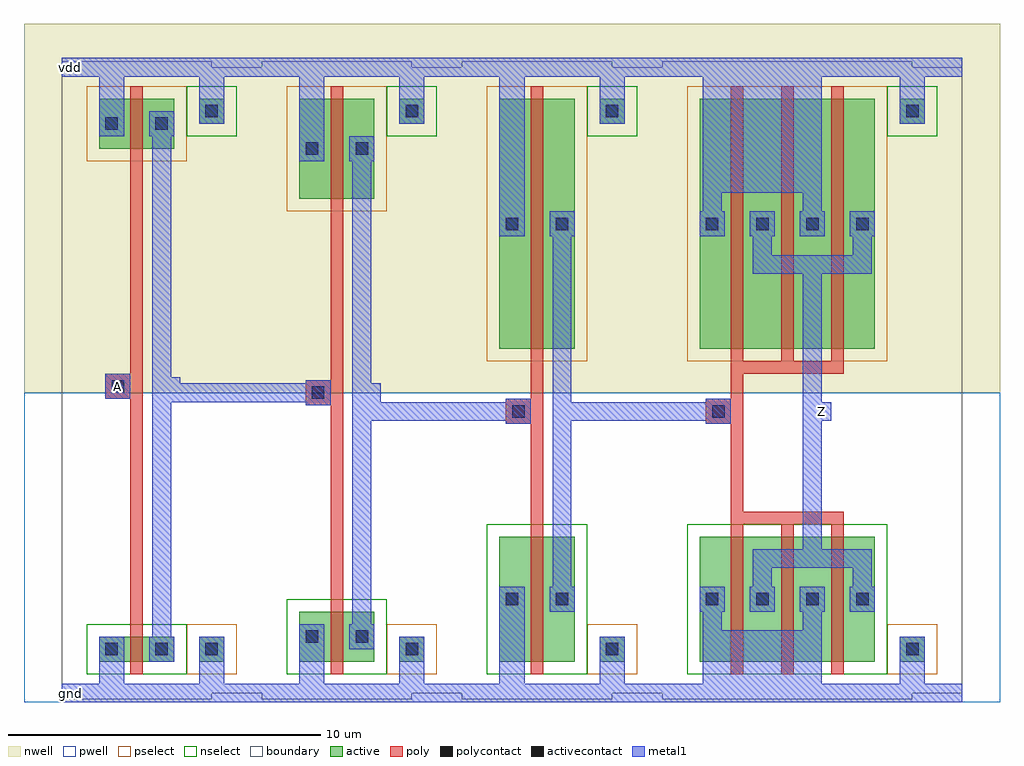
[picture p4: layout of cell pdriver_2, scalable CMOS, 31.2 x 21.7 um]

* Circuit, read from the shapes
.subckt pdriver_2 A Z gnd vdd
M1 pinv_2_1/A A gnd gnd nfet w=0.8u l=0.4u
M2 pinv_5_2/A pinv_2_1/A gnd gnd nfet w=1.6u l=0.4u
M3 pinv_6_3/A pinv_5_2/A gnd gnd nfet w=4u l=0.4u
M4 Z pinv_6_3/A gnd gnd nfet w=4u l=0.4u m=3
M5 pinv_2_1/A A vdd vdd pfet w=1.6u l=0.4u
M6 pinv_5_2/A pinv_2_1/A vdd vdd pfet w=3.2u l=0.4u
M7 pinv_6_3/A pinv_5_2/A vdd vdd pfet w=8u l=0.4u
M8 Z pinv_6_3/A vdd vdd pfet w=8u l=0.4u m=3
.ends

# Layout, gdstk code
import gdstk
lib = gdstk.Library(unit=1e-6, precision=1e-09)
def R(c, l, rs):  # rectangles x0, y0, x1, y1
    for r in rs: c.add(gdstk.rectangle(r[:2], r[2:], *l))
def A(c, l, x, y, w, h, nx, ny, dx, dy):  # array of equal rectangles
    R(c, l, [(x+i*dx, y+j*dy, x+i*dx+w, y+j*dy+h) for i in range(nx) for j in range(ny)])
pwell = (41, 0)
nwell = (42, 0)
active = (43, 0)
pselect = (44, 0)
nselect = (45, 0)
poly = (46, 0)
polycontact = (47, 0)
activecontact = (48, 0)
metal1 = (49, 0)
boundary = (63, 0)

contact_11 = lib.new_cell('contact_11')
R(contact_11, nwell, [(-1.2,-1.2,2,2)])
R(contact_11, active, [(0,0,0.8,0.8)])
R(contact_11, pselect, [(-0.4,-0.4,1.2,1.2)])
R(contact_11, activecontact, [(0.2,0.2,0.6,0.6)])
R(contact_11, metal1, [(0,0,0.8,0.8)])

pmos_m1_w1_600_a_p = lib.new_cell('pmos_m1_w1_600_a_p')
R(pmos_m1_w1_600_a_p, nwell, [(-1.2,-1.2,3.6,2.8)])
R(pmos_m1_w1_600_a_p, active, [(0,0,2.4,1.6)])
R(pmos_m1_w1_600_a_p, pselect, [(-0.4,-0.4,2.8,2)])
R(pmos_m1_w1_600_a_p, poly, [(1,-0.4,1.4,2), (1,-0.4,1.4,2)])
R(pmos_m1_w1_600_a_p, metal1, [(0,0.4,0.8,1.2), (1.6,0.4,2.4,1.2)])
R(pmos_m1_w1_600_a_p, boundary, [(-1.2,-1.2,3.6,2.8)])
pmos_m1_w1_600_a_p.add(gdstk.Reference(contact_11, (0,0.4)))
pmos_m1_w1_600_a_p.add(gdstk.Reference(contact_11, (1.6,0.4)))
pmos_m1_w1_600_a_p.add(gdstk.Label('G', (1.2,0.8), layer=46, texttype=0))
pmos_m1_w1_600_a_p.add(gdstk.Label('S', (0.4,0.8), layer=49, texttype=0))
pmos_m1_w1_600_a_p.add(gdstk.Label('D', (2,0.8), layer=49, texttype=0))

contact_16 = lib.new_cell('contact_16')
R(contact_16, pwell, [(-1.2,-1.2,2,2)])
R(contact_16, active, [(0,0,0.8,0.8)])
R(contact_16, nselect, [(-0.4,-0.4,1.2,1.2)])
R(contact_16, activecontact, [(0.2,0.2,0.6,0.6)])
R(contact_16, metal1, [(0,0,0.8,0.8)])

nmos_m1_w0_800_a_p = lib.new_cell('nmos_m1_w0_800_a_p')
R(nmos_m1_w0_800_a_p, pwell, [(-1.2,-1.2,3.6,2)])
R(nmos_m1_w0_800_a_p, active, [(0,0,2.4,0.8)])
R(nmos_m1_w0_800_a_p, nselect, [(-0.4,-0.4,2.8,1.2)])
R(nmos_m1_w0_800_a_p, poly, [(1,-0.4,1.4,1.2), (1,-0.4,1.4,1.2)])
R(nmos_m1_w0_800_a_p, metal1, [(0,0,0.8,0.8), (1.6,0,2.4,0.8)])
R(nmos_m1_w0_800_a_p, boundary, [(-1.2,-1.2,3.6,2)])
nmos_m1_w0_800_a_p.add(gdstk.Reference(contact_16, (0,0)))
nmos_m1_w0_800_a_p.add(gdstk.Reference(contact_16, (1.6,0)))
nmos_m1_w0_800_a_p.add(gdstk.Label('G', (1.2,0.4), layer=46, texttype=0))
nmos_m1_w0_800_a_p.add(gdstk.Label('S', (0.4,0.4), layer=49, texttype=0))
nmos_m1_w0_800_a_p.add(gdstk.Label('D', (2,0.4), layer=49, texttype=0))

contact_13 = lib.new_cell('contact_13')
R(contact_13, nwell, [(-1.2,-1.2,2,2)])
R(contact_13, active, [(0,0,0.8,0.8)])
R(contact_13, nselect, [(-0.4,-0.4,1.2,1.2)])
R(contact_13, activecontact, [(0.2,0.2,0.6,0.6)])
R(contact_13, metal1, [(0,0,0.8,0.8)])

contact_17 = lib.new_cell('contact_17')
R(contact_17, pwell, [(-1.2,-1.2,2,2)])
R(contact_17, active, [(0,0,0.8,0.8)])
R(contact_17, pselect, [(-0.4,-0.4,1.2,1.2)])
R(contact_17, activecontact, [(0.2,0.2,0.6,0.6)])
R(contact_17, metal1, [(0,0,0.8,0.8)])

contact_12 = lib.new_cell('contact_12')
R(contact_12, poly, [(0,0,0.8,0.8)])
R(contact_12, polycontact, [(0.2,0.2,0.6,0.6)])
R(contact_12, metal1, [(0,0,0.8,0.8)])

pinv_4 = lib.new_cell('pinv_4')
R(pinv_4, pwell, [(-1.2,-0.3,7.6,9.6)])
R(pinv_4, nwell, [(-1.2,9.6,7.6,21.4)])
R(pinv_4, poly, [(2.2,2.2,2.6,17), (1.8,9.4,2.2,10.2)])
R(pinv_4, metal1, [(0,-0.3,6.4,0.3), (1.2,-0.3,2,1), (4.4,0,5.2,1.4), (2.9,1,3.5,18.6), (1.4,9.4,2.2,10.2), (3.2,9.5,3.8,10.1), (1.2,17.8,2,20.3), (4.4,18.6,5.2,20), (0,19.7,6.4,20.3)])
R(pinv_4, boundary, [(0,0,6.4,20)])
pinv_4.add(gdstk.Reference(pmos_m1_w1_600_a_p, (1.2,17.4)))
pinv_4.add(gdstk.Reference(nmos_m1_w0_800_a_p, (1.2,1)))
pinv_4.add(gdstk.Reference(contact_13, (4.4,18.2)))
pinv_4.add(gdstk.Reference(contact_17, (4.4,1)))
pinv_4.add(gdstk.Reference(contact_12, (1.4,9.4)))
pinv_4.add(gdstk.Label('gnd', (3.2,0), layer=49, texttype=0))
pinv_4.add(gdstk.Label('vdd', (3.2,20), layer=49, texttype=0))
pinv_4.add(gdstk.Label('A', (1.8,9.8), layer=49, texttype=0))
pinv_4.add(gdstk.Label('Z', (3.5,9.8), layer=49, texttype=0))

pmos_m1_w3_200_a_p = lib.new_cell('pmos_m1_w3_200_a_p')
R(pmos_m1_w3_200_a_p, nwell, [(-1.2,-1.2,3.6,4.4)])
R(pmos_m1_w3_200_a_p, active, [(0,0,2.4,3.2)])
R(pmos_m1_w3_200_a_p, pselect, [(-0.4,-0.4,2.8,3.6)])
R(pmos_m1_w3_200_a_p, poly, [(1,-0.4,1.4,3.6), (1,-0.4,1.4,3.6)])
R(pmos_m1_w3_200_a_p, metal1, [(0,1.2,0.8,2), (1.6,1.2,2.4,2)])
R(pmos_m1_w3_200_a_p, boundary, [(-1.2,-1.2,3.6,4.4)])
pmos_m1_w3_200_a_p.add(gdstk.Reference(contact_11, (0,1.2)))
pmos_m1_w3_200_a_p.add(gdstk.Reference(contact_11, (1.6,1.2)))
pmos_m1_w3_200_a_p.add(gdstk.Label('G', (1.2,1.6), layer=46, texttype=0))
pmos_m1_w3_200_a_p.add(gdstk.Label('S', (0.4,1.6), layer=49, texttype=0))
pmos_m1_w3_200_a_p.add(gdstk.Label('D', (2,1.6), layer=49, texttype=0))

nmos_m1_w1_600_a_p = lib.new_cell('nmos_m1_w1_600_a_p')
R(nmos_m1_w1_600_a_p, pwell, [(-1.2,-1.2,3.6,2.8)])
R(nmos_m1_w1_600_a_p, active, [(0,0,2.4,1.6)])
R(nmos_m1_w1_600_a_p, nselect, [(-0.4,-0.4,2.8,2)])
R(nmos_m1_w1_600_a_p, poly, [(1,-0.4,1.4,2), (1,-0.4,1.4,2)])
R(nmos_m1_w1_600_a_p, metal1, [(0,0.4,0.8,1.2), (1.6,0.4,2.4,1.2)])
R(nmos_m1_w1_600_a_p, boundary, [(-1.2,-1.2,3.6,2.8)])
nmos_m1_w1_600_a_p.add(gdstk.Reference(contact_16, (0,0.4)))
nmos_m1_w1_600_a_p.add(gdstk.Reference(contact_16, (1.6,0.4)))
nmos_m1_w1_600_a_p.add(gdstk.Label('G', (1.2,0.8), layer=46, texttype=0))
nmos_m1_w1_600_a_p.add(gdstk.Label('S', (0.4,0.8), layer=49, texttype=0))
nmos_m1_w1_600_a_p.add(gdstk.Label('D', (2,0.8), layer=49, texttype=0))

pinv_2 = lib.new_cell('pinv_2')
R(pinv_2, pwell, [(-1.2,-0.3,7.6,9.6)])
R(pinv_2, nwell, [(-1.2,9.6,7.6,21.4)])
R(pinv_2, poly, [(2.2,3,2.6,15.4), (1.8,9.2,2.2,10)])
R(pinv_2, metal1, [(0,-0.3,6.4,0.3), (1.2,-0.3,2,1.4), (4.4,0,5.2,1.4), (2.9,1.4,3.5,17.8), (1.4,9.2,2.2,10), (3.2,9.3,3.8,9.9), (1.2,17,2,20.3), (4.4,18.6,5.2,20), (0,19.7,6.4,20.3)])
R(pinv_2, boundary, [(0,0,6.4,20)])
pinv_2.add(gdstk.Reference(pmos_m1_w3_200_a_p, (1.2,15.8)))
pinv_2.add(gdstk.Reference(nmos_m1_w1_600_a_p, (1.2,1)))
pinv_2.add(gdstk.Reference(contact_13, (4.4,18.2)))
pinv_2.add(gdstk.Reference(contact_17, (4.4,1)))
pinv_2.add(gdstk.Reference(contact_12, (1.4,9.2)))
pinv_2.add(gdstk.Label('gnd', (3.2,0), layer=49, texttype=0))
pinv_2.add(gdstk.Label('vdd', (3.2,20), layer=49, texttype=0))
pinv_2.add(gdstk.Label('A', (1.8,9.6), layer=49, texttype=0))
pinv_2.add(gdstk.Label('Z', (3.5,9.6), layer=49, texttype=0))

pmos_m1_w8_000_a_p = lib.new_cell('pmos_m1_w8_000_a_p')
R(pmos_m1_w8_000_a_p, nwell, [(-1.2,-1.2,3.6,9.2)])
R(pmos_m1_w8_000_a_p, active, [(0,0,2.4,8)])
R(pmos_m1_w8_000_a_p, pselect, [(-0.4,-0.4,2.8,8.4)])
R(pmos_m1_w8_000_a_p, poly, [(1,-0.4,1.4,8.4), (1,-0.4,1.4,8.4)])
R(pmos_m1_w8_000_a_p, metal1, [(0,3.6,0.8,4.4), (1.6,3.6,2.4,4.4)])
R(pmos_m1_w8_000_a_p, boundary, [(-1.2,-1.2,3.6,9.2)])
pmos_m1_w8_000_a_p.add(gdstk.Reference(contact_11, (0,3.6)))
pmos_m1_w8_000_a_p.add(gdstk.Reference(contact_11, (1.6,3.6)))
pmos_m1_w8_000_a_p.add(gdstk.Label('G', (1.2,4), layer=46, texttype=0))
pmos_m1_w8_000_a_p.add(gdstk.Label('S', (0.4,4), layer=49, texttype=0))
pmos_m1_w8_000_a_p.add(gdstk.Label('D', (2,4), layer=49, texttype=0))

nmos_m1_w4_000_a_p = lib.new_cell('nmos_m1_w4_000_a_p')
R(nmos_m1_w4_000_a_p, pwell, [(-1.2,-1.2,3.6,5.2)])
R(nmos_m1_w4_000_a_p, active, [(0,0,2.4,4)])
R(nmos_m1_w4_000_a_p, nselect, [(-0.4,-0.4,2.8,4.4)])
R(nmos_m1_w4_000_a_p, poly, [(1,-0.4,1.4,4.4), (1,-0.4,1.4,4.4)])
R(nmos_m1_w4_000_a_p, metal1, [(0,1.6,0.8,2.4), (1.6,1.6,2.4,2.4)])
R(nmos_m1_w4_000_a_p, boundary, [(-1.2,-1.2,3.6,5.2)])
nmos_m1_w4_000_a_p.add(gdstk.Reference(contact_16, (0,1.6)))
nmos_m1_w4_000_a_p.add(gdstk.Reference(contact_16, (1.6,1.6)))
nmos_m1_w4_000_a_p.add(gdstk.Label('G', (1.2,2), layer=46, texttype=0))
nmos_m1_w4_000_a_p.add(gdstk.Label('S', (0.4,2), layer=49, texttype=0))
nmos_m1_w4_000_a_p.add(gdstk.Label('D', (2,2), layer=49, texttype=0))

pinv_5 = lib.new_cell('pinv_5')
R(pinv_5, pwell, [(-1.2,-0.3,7.6,9.6)])
R(pinv_5, nwell, [(-1.2,9.6,7.6,21.4)])
R(pinv_5, poly, [(2.2,5.4,2.6,10.6), (1.8,8.6,2.2,9.4)])
R(pinv_5, metal1, [(0,-0.3,6.4,0.3), (1.2,-0.3,2,2.6), (4.4,0,5.2,1.4), (2.9,2.6,3.5,15.4), (1.4,8.6,2.2,9.4), (3.2,8.7,3.8,9.3), (1.2,14.6,2,20.3), (4.4,18.6,5.2,20), (0,19.7,6.4,20.3)])
R(pinv_5, boundary, [(0,0,6.4,20)])
pinv_5.add(gdstk.Reference(pmos_m1_w8_000_a_p, (1.2,11)))
pinv_5.add(gdstk.Reference(nmos_m1_w4_000_a_p, (1.2,1)))
pinv_5.add(gdstk.Reference(contact_13, (4.4,18.2)))
pinv_5.add(gdstk.Reference(contact_17, (4.4,1)))
pinv_5.add(gdstk.Reference(contact_12, (1.4,8.6)))
pinv_5.add(gdstk.Label('gnd', (3.2,0), layer=49, texttype=0))
pinv_5.add(gdstk.Label('vdd', (3.2,20), layer=49, texttype=0))
pinv_5.add(gdstk.Label('A', (1.8,9), layer=49, texttype=0))
pinv_5.add(gdstk.Label('Z', (3.5,9), layer=49, texttype=0))

pmos_m3_w8_000_a_p = lib.new_cell('pmos_m3_w8_000_a_p')
R(pmos_m3_w8_000_a_p, nwell, [(-1.2,-1.2,6.8,9.2)])
R(pmos_m3_w8_000_a_p, active, [(0,0,5.6,8)])
R(pmos_m3_w8_000_a_p, pselect, [(-0.4,-0.4,6,8.4)])
A(pmos_m3_w8_000_a_p, poly, 1, -0.4, 0.4, 8.8, 3, 1, 1.6, 0)
R(pmos_m3_w8_000_a_p, poly, [(1,-0.8,4.6,-0.4)])
R(pmos_m3_w8_000_a_p, metal1, [(1.7,2.4,5.5,3), (1.7,2.7,2.3,4), (4.9,2.7,5.5,4), (0.1,4,0.7,5.3), (3.3,4,3.9,5.3), (0.1,5,3.9,5.6)])
R(pmos_m3_w8_000_a_p, boundary, [(-1.2,-1.2,6.8,9.2)])
pmos_m3_w8_000_a_p.add(gdstk.Reference(contact_11, (0,3.6)))
pmos_m3_w8_000_a_p.add(gdstk.Reference(contact_11, (3.2,3.6)))
pmos_m3_w8_000_a_p.add(gdstk.Reference(contact_11, (1.6,3.6)))
pmos_m3_w8_000_a_p.add(gdstk.Reference(contact_11, (4.8,3.6)))
pmos_m3_w8_000_a_p.add(gdstk.Label('G', (2.8,-0.6), layer=46, texttype=0))
pmos_m3_w8_000_a_p.add(gdstk.Label('S', (2,5.3), layer=49, texttype=0))
pmos_m3_w8_000_a_p.add(gdstk.Label('D', (3.6,2.7), layer=49, texttype=0))

nmos_m3_w4_000_a_p = lib.new_cell('nmos_m3_w4_000_a_p')
R(nmos_m3_w4_000_a_p, pwell, [(-1.2,-1.2,6.8,5.2)])
R(nmos_m3_w4_000_a_p, active, [(0,0,5.6,4)])
R(nmos_m3_w4_000_a_p, nselect, [(-0.4,-0.4,6,4.4)])
A(nmos_m3_w4_000_a_p, poly, 1, -0.4, 0.4, 4.8, 3, 1, 1.6, 0)
R(nmos_m3_w4_000_a_p, poly, [(1,4.4,4.6,4.8)])
R(nmos_m3_w4_000_a_p, metal1, [(0.1,0.4,3.9,1), (0.1,0.7,0.7,2), (3.3,0.7,3.9,2), (1.7,2,2.3,3.3), (4.9,2,5.5,3.3), (1.7,3,5.5,3.6)])
R(nmos_m3_w4_000_a_p, boundary, [(-1.2,-1.2,6.8,5.2)])
nmos_m3_w4_000_a_p.add(gdstk.Reference(contact_16, (0,1.6)))
nmos_m3_w4_000_a_p.add(gdstk.Reference(contact_16, (3.2,1.6)))
nmos_m3_w4_000_a_p.add(gdstk.Reference(contact_16, (1.6,1.6)))
nmos_m3_w4_000_a_p.add(gdstk.Reference(contact_16, (4.8,1.6)))
nmos_m3_w4_000_a_p.add(gdstk.Label('G', (2.8,4.6), layer=46, texttype=0))
nmos_m3_w4_000_a_p.add(gdstk.Label('S', (2,0.7), layer=49, texttype=0))
nmos_m3_w4_000_a_p.add(gdstk.Label('D', (3.6,3.3), layer=49, texttype=0))

pinv_6 = lib.new_cell('pinv_6')
R(pinv_6, pwell, [(-1.2,-0.3,10.8,9.6)])
R(pinv_6, nwell, [(-1.2,9.6,10.8,21.4)])
R(pinv_6, poly, [(2.2,5.8,2.6,10.2), (1.8,8.6,2.2,9.4)])
R(pinv_6, metal1, [(0,-0.3,9.6,0.3), (1.3,-0.3,5.1,1.4), (7.6,0,8.4,1.4), (4.5,4,5.1,14), (1.4,8.6,2.2,9.4), (4.8,8.7,5.4,9.3), (1.3,16,5.1,20.3), (7.6,18.6,8.4,20), (0,19.7,9.6,20.3)])
R(pinv_6, boundary, [(0,0,9.6,20)])
pinv_6.add(gdstk.Reference(pmos_m3_w8_000_a_p, (1.2,11)))
pinv_6.add(gdstk.Reference(nmos_m3_w4_000_a_p, (1.2,1)))
pinv_6.add(gdstk.Reference(contact_13, (7.6,18.2)))
pinv_6.add(gdstk.Reference(contact_17, (7.6,1)))
pinv_6.add(gdstk.Reference(contact_12, (1.4,8.6)))
pinv_6.add(gdstk.Label('gnd', (4.8,0), layer=49, texttype=0))
pinv_6.add(gdstk.Label('vdd', (4.8,20), layer=49, texttype=0))
pinv_6.add(gdstk.Label('A', (1.8,9), layer=49, texttype=0))
pinv_6.add(gdstk.Label('Z', (5.1,9), layer=49, texttype=0))

pdriver_2 = lib.new_cell('pdriver_2')
R(pdriver_2, metal1, [(0,-0.3,0.6,0.3), (9.6,8.7,10.2,9.3), (9.9,8.7,14.6,9.3), (16.3,8.7,21,9.3), (24,8.7,24.6,9.3), (9.6,9,10.2,9.6), (3.2,9.3,3.8,9.9), (3.5,9.3,8.2,9.9), (1.4,9.4,2.2,10.2), (3.2,9.6,3.8,9.8), (0,19.7,0.6,20.3)])
R(pdriver_2, boundary, [(0,0,28.8,20)])
pdriver_2.add(gdstk.Reference(pinv_4, (0,0)))
pdriver_2.add(gdstk.Reference(pinv_2, (6.4,0)))
pdriver_2.add(gdstk.Reference(pinv_5, (12.8,0)))
pdriver_2.add(gdstk.Reference(pinv_6, (19.2,0)))
pdriver_2.add(gdstk.Label('vdd', (0.3,20), layer=49, texttype=0))
pdriver_2.add(gdstk.Label('gnd', (0.3,0), layer=49, texttype=0))
pdriver_2.add(gdstk.Label('Z', (24.3,9), layer=49, texttype=0))
pdriver_2.add(gdstk.Label('A', (1.8,9.8), layer=49, texttype=0))

lib.write_gds('pdriver_2.gds')
